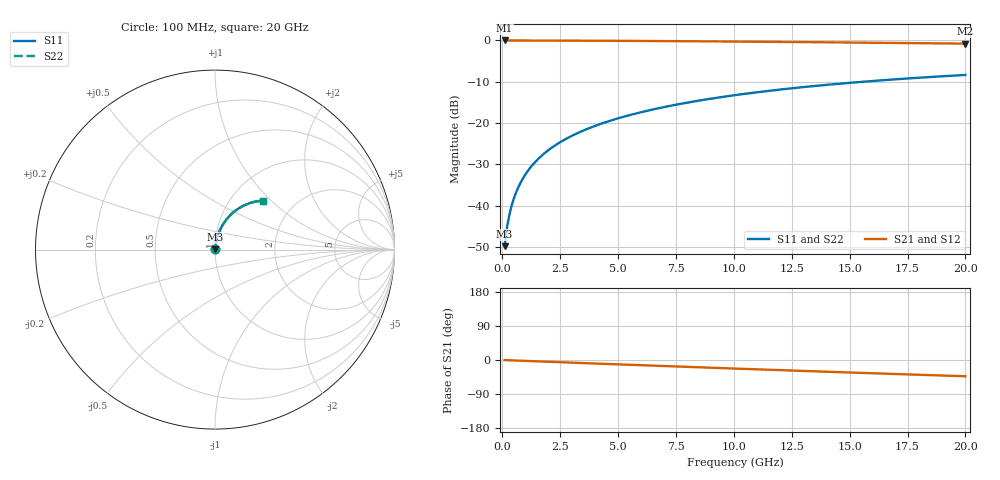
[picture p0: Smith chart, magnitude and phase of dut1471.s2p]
! Touchstone file exported from HFSS 2026.1.0
!  File:  C:/ffzhzh/LocalFiles/Ansys_Project_Files/temp_train_TMRDL_1471_1783167525_51560.aedt
!  Generated:  08:19:59 PM Jul  4, 2026
!  Design:  TMRDL
!  Project:  temp_train_TMRDL_1471_1783167525_51560
! Variables:
!  h_bsmrdl = 2um
!  h_ox = 20um
!  h_rdl = 5um
!  h_sub = 80um
!  h_tmrdl = 5.92um
!  h_tsv = 80um
!  h_via = 3um
!  l_bsmrdl = 300um
!  l_sub = 1043.72um
!  l_tmrdl = 643.72um
!  m_sub = 200um
!  pitch = 48.86um
!  r_tsv = 6um
!  s_tmrdl = 10um
!  w_bsmrdl = 18um
!  w_sub = 500um
!  w_tmrdl = 20.51um
!  x_tsv_center1 = 653.975um
!  x_tsv_center2 = 971.975um
!  x_tsv_center3 = 1636.205um
!  x_tsv_center4 = 1954.205um
!  x_tsv_center5 = 2618.435um
!  x_tsv_center6 = 2936.435um
# GHz S MA R 50.000000
! Terminal data exported
! Port[1] = TM_RDL1_1_T1
! Port[2] = TM_RDL1_1_T2
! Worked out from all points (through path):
!   200 points, 100 MHz to 20 GHz, reference 50 ohm
!   highest |S21| = -0.02 dB at 100 MHz (marker M1); lowest = -0.8 dB at 20 GHz (marker M2)
!   group delay of S21, straight-line fit = 5.96 ps
!   lowest |S11| = -49.8 dB at 100 MHz (marker M3), VSWR 1.01, Z = 50.2 + j0.255 ohm
!   |S11| at or under -10 dB: start of sweep to 15.58 GHz
!   |S22| runs from -49.8 to -8.4 dB; largest |S21 - S12| = 2.7e-15
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0.1  0.003252 51.3  0.998 -0.2  0.998 -0.2  0.003252 51.3
! Gamma 0 0 0 0
! Port Impedance 50 0 50 0
0.2  0.005418 66.1  0.9978 -0.5  0.9978 -0.5  0.005418 66.1
0.3  0.007678 72.3  0.9977 -0.7  0.9977 -0.7  0.007678 72.3
0.4  0.009972 75.7  0.9976 -1.0  0.9976 -1.0  0.009972 75.7
0.5  0.01229 77.7  0.9976 -1.2  0.9976 -1.2  0.01229 77.7
0.7  0.01696 80.0  0.9974 -1.7  0.9974 -1.7  0.01696 80.0
0.8  0.01931 80.6  0.9973 -1.9  0.9973 -1.9  0.01931 80.6
1  0.024 81.4  0.9971 -2.4  0.9971 -2.4  0.024 81.4
1.2  0.02869 81.7  0.9969 -2.8  0.9969 -2.8  0.02869 81.7
1.4  0.03337 81.8  0.9966 -3.3  0.9966 -3.3  0.03337 81.8
1.7  0.04036 81.6  0.9961 -4.0  0.9961 -4.0  0.04036 81.6
2  0.0473 81.2  0.9955 -4.7  0.9955 -4.7  0.0473 81.2
2.7  0.0633 80.1  0.994 -6.3  0.994 -6.3  0.0633 80.1
3.5  0.08127 78.6  0.9921 -8.1  0.9921 -8.1  0.08127 78.6
4.2  0.09674 77.2  0.9901 -9.7  0.9901 -9.7  0.09674 77.2
5  0.1141 75.6  0.9877 -11.5  0.9877 -11.5  0.1141 75.6
6.8  0.1524 71.9  0.9815 -15.5  0.9815 -15.5  0.1524 71.9
8.3  0.1832 68.8  0.9756 -18.8  0.9756 -18.8  0.1832 68.8
10.1  0.2187 65.1  0.9676 -22.7  0.9676 -22.7  0.2187 65.1
13.4  0.2795 58.4  0.951 -29.7  0.951 -29.7  0.2796 58.4
16.7  0.3341 51.9  0.9328 -36.5  0.9328 -36.5  0.3341 51.9
20  0.382 45.6  0.914 -42.9  0.914 -42.9  0.382 45.6
